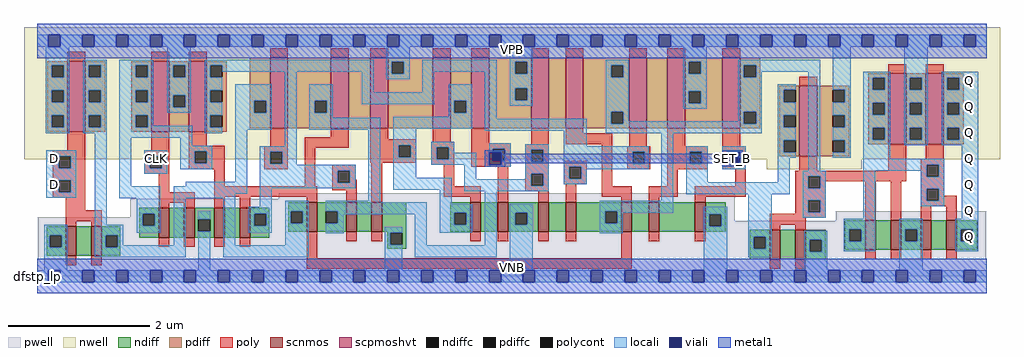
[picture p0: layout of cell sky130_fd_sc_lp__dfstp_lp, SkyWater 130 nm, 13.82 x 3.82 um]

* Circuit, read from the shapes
.subckt sky130_fd_sc_lp__dfstp_lp CLK D SET_B VGND VNB VPB VPWR Q
XM1 n1 D VGND VNB sky130_fd_pr__nfet_01v8 w=0.42 l=0.15
XM2 n2 D n1 VNB sky130_fd_pr__nfet_01v8 w=0.42 l=0.15
XM3 n3 CLK n4 VNB sky130_fd_pr__nfet_01v8 w=0.42 l=0.15
XM4 VGND CLK n3 VNB sky130_fd_pr__nfet_01v8 w=0.42 l=0.15
XM5 n5 n4 VGND VNB sky130_fd_pr__nfet_01v8 w=0.42 l=0.15
XM6 n6 n4 n5 VNB sky130_fd_pr__nfet_01v8 w=0.42 l=0.15
XM7 n7 n4 n2 VNB sky130_fd_pr__nfet_01v8 w=0.42 l=0.15
XM8 n8 n6 n7 VNB sky130_fd_pr__nfet_01v8 w=0.42 l=0.15
XM9 VGND n9 n8 VNB sky130_fd_pr__nfet_01v8 w=0.42 l=0.15
XM10 n10 n7 n9 VNB sky130_fd_pr__nfet_01v8 w=0.42 l=0.15
XM11 VGND SET_B n10 VNB sky130_fd_pr__nfet_01v8 w=0.42 l=0.15
XM12 n11 n7 VGND VNB sky130_fd_pr__nfet_01v8 w=0.42 l=0.15
XM13 n12 n6 n11 VNB sky130_fd_pr__nfet_01v8 w=0.42 l=0.15
XM14 n13 n4 n12 VNB sky130_fd_pr__nfet_01v8 w=0.42 l=0.15
XM15 n14 n15 n13 VNB sky130_fd_pr__nfet_01v8 w=0.42 l=0.15
XM16 VGND SET_B n14 VNB sky130_fd_pr__nfet_01v8 w=0.42 l=0.15
XM17 n16 n12 n15 VNB sky130_fd_pr__nfet_01v8 w=0.42 l=0.15
XM18 VGND n12 n16 VNB sky130_fd_pr__nfet_01v8 w=0.42 l=0.15
XM19 n17 n12 n18 VNB sky130_fd_pr__nfet_01v8 w=0.42 l=0.15
XM20 VGND n12 n17 VNB sky130_fd_pr__nfet_01v8 w=0.42 l=0.15
XM21 n19 n18 VGND VNB sky130_fd_pr__nfet_01v8 w=0.42 l=0.15
XM22 Q n18 n19 VNB sky130_fd_pr__nfet_01v8 w=0.42 l=0.15
XM23 n2 D VPWR VPB sky130_fd_pr__pfet_01v8_hvt w=1 l=0.25
XM24 VPWR CLK n4 VPB sky130_fd_pr__pfet_01v8_hvt w=1 l=0.25
XM25 n6 n4 VPWR VPB sky130_fd_pr__pfet_01v8_hvt w=1 l=0.25
XM26 n7 n6 n2 VPB sky130_fd_pr__pfet_01v8_hvt w=1 l=0.25
XM27 n20 n4 n7 VPB sky130_fd_pr__pfet_01v8_hvt w=1 l=0.25
XM28 VPWR n9 n20 VPB sky130_fd_pr__pfet_01v8_hvt w=1 l=0.25
XM29 n9 n7 VPWR VPB sky130_fd_pr__pfet_01v8_hvt w=1 l=0.25
XM30 VPWR SET_B n9 VPB sky130_fd_pr__pfet_01v8_hvt w=1 l=0.25
XM31 n21 n7 VPWR VPB sky130_fd_pr__pfet_01v8_hvt w=1 l=0.25
XM32 n12 n4 n21 VPB sky130_fd_pr__pfet_01v8_hvt w=1 l=0.25
XM33 n22 n6 n12 VPB sky130_fd_pr__pfet_01v8_hvt w=1 l=0.25
XM34 VPWR n15 n22 VPB sky130_fd_pr__pfet_01v8_hvt w=1 l=0.25
XM35 n12 SET_B VPWR VPB sky130_fd_pr__pfet_01v8_hvt w=1 l=0.25
XM36 VPWR n12 n15 VPB sky130_fd_pr__pfet_01v8_hvt w=1 l=0.25
XM37 VPWR n12 n18 VPB sky130_fd_pr__pfet_01v8_hvt w=1 l=0.25
XM38 Q n18 VPWR VPB sky130_fd_pr__pfet_01v8_hvt w=1 l=0.25
.ends

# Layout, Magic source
magic
tech sky130A
magscale 1 2
<< nwell >>
rect -38 331 2726 704
rect 2065 303 2335 331
<< pwell >>
rect 684 219 1975 235
rect 263 167 1975 219
rect 1 157 1975 167
rect 2261 157 2687 184
rect 1 49 2687 157
rect 0 0 2688 49
<< scnmos >>
rect 80 57 110 141
rect 152 57 182 141
rect 343 109 373 193
rect 415 109 445 193
rect 501 109 531 193
rect 573 109 603 193
rect 763 125 793 209
rect 874 125 904 209
rect 946 125 976 209
rect 1226 125 1256 209
rect 1304 125 1334 209
rect 1418 125 1448 209
rect 1496 125 1526 209
rect 1653 125 1683 209
rect 1731 125 1761 209
rect 1862 125 1892 209
rect 2074 47 2104 131
rect 2146 47 2176 131
rect 2344 74 2374 158
rect 2416 74 2446 158
rect 2502 74 2532 158
rect 2574 74 2604 158
<< scpmoshvt >>
rect 85 409 135 609
rect 323 409 373 609
rect 429 409 479 609
rect 659 419 709 619
rect 831 419 881 619
rect 943 419 993 619
rect 1120 419 1170 619
rect 1229 419 1279 619
rect 1398 419 1448 619
rect 1496 419 1546 619
rect 1676 419 1726 619
rect 1784 419 1834 619
rect 1940 419 1990 619
rect 2158 339 2208 539
rect 2410 374 2460 574
rect 2516 374 2566 574
<< ndiff >>
rect 289 177 343 193
rect 289 143 298 177
rect 332 143 343 177
rect 27 116 80 141
rect 27 82 35 116
rect 69 82 80 116
rect 27 57 80 82
rect 110 57 152 141
rect 182 116 235 141
rect 182 82 193 116
rect 227 82 235 116
rect 289 109 343 143
rect 373 109 415 193
rect 445 161 501 193
rect 445 127 456 161
rect 490 127 501 161
rect 445 109 501 127
rect 531 109 573 193
rect 603 177 656 193
rect 603 143 614 177
rect 648 143 656 177
rect 603 109 656 143
rect 710 184 763 209
rect 710 150 718 184
rect 752 150 763 184
rect 710 125 763 150
rect 793 184 874 209
rect 793 150 817 184
rect 851 150 874 184
rect 793 125 874 150
rect 904 125 946 209
rect 976 125 1045 209
rect 1169 180 1226 209
rect 1169 146 1181 180
rect 1215 146 1226 180
rect 1169 125 1226 146
rect 1256 125 1304 209
rect 1334 179 1418 209
rect 1334 145 1353 179
rect 1387 145 1418 179
rect 1334 125 1418 145
rect 1448 125 1496 209
rect 1526 184 1653 209
rect 1526 150 1608 184
rect 1642 150 1653 184
rect 1526 125 1653 150
rect 1683 125 1731 209
rect 1761 125 1862 209
rect 1892 175 1949 209
rect 1892 141 1903 175
rect 1937 141 1949 175
rect 1892 125 1949 141
rect 2287 133 2344 158
rect 182 57 235 82
rect 991 123 1045 125
rect 991 89 999 123
rect 1033 89 1045 123
rect 991 77 1045 89
rect 2017 111 2074 131
rect 2017 77 2029 111
rect 2063 77 2074 111
rect 2017 47 2074 77
rect 2104 47 2146 131
rect 2176 103 2233 131
rect 2176 69 2187 103
rect 2221 69 2233 103
rect 2287 99 2299 133
rect 2333 99 2344 133
rect 2287 74 2344 99
rect 2374 74 2416 158
rect 2446 133 2502 158
rect 2446 99 2457 133
rect 2491 99 2502 133
rect 2446 74 2502 99
rect 2532 74 2574 158
rect 2604 133 2661 158
rect 2604 99 2615 133
rect 2649 99 2661 133
rect 2604 74 2661 99
rect 2176 47 2233 69
<< pdiff >>
rect 28 597 85 609
rect 28 563 40 597
rect 74 563 85 597
rect 28 526 85 563
rect 28 492 40 526
rect 74 492 85 526
rect 28 455 85 492
rect 28 421 40 455
rect 74 421 85 455
rect 28 409 85 421
rect 135 597 192 609
rect 135 563 146 597
rect 180 563 192 597
rect 135 526 192 563
rect 135 492 146 526
rect 180 492 192 526
rect 135 455 192 492
rect 135 421 146 455
rect 180 421 192 455
rect 135 409 192 421
rect 266 597 323 609
rect 266 563 278 597
rect 312 563 323 597
rect 266 526 323 563
rect 266 492 278 526
rect 312 492 323 526
rect 266 455 323 492
rect 266 421 278 455
rect 312 421 323 455
rect 266 409 323 421
rect 373 597 429 609
rect 373 563 384 597
rect 418 563 429 597
rect 373 512 429 563
rect 373 478 384 512
rect 418 478 429 512
rect 373 409 429 478
rect 479 597 536 609
rect 479 563 490 597
rect 524 563 536 597
rect 479 526 536 563
rect 479 492 490 526
rect 524 492 536 526
rect 479 455 536 492
rect 479 421 490 455
rect 524 421 536 455
rect 479 409 536 421
rect 602 496 659 619
rect 602 462 614 496
rect 648 462 659 496
rect 602 419 659 462
rect 709 496 831 619
rect 709 462 786 496
rect 820 462 831 496
rect 709 419 831 462
rect 881 419 943 619
rect 993 607 1120 619
rect 993 573 1004 607
rect 1038 573 1120 607
rect 993 419 1120 573
rect 1170 497 1229 619
rect 1170 463 1181 497
rect 1215 463 1229 497
rect 1170 419 1229 463
rect 1279 607 1398 619
rect 1279 573 1353 607
rect 1387 573 1398 607
rect 1279 532 1398 573
rect 1279 498 1353 532
rect 1387 498 1398 532
rect 1279 419 1398 498
rect 1448 419 1496 619
rect 1546 597 1676 619
rect 1546 563 1625 597
rect 1659 563 1676 597
rect 1546 465 1676 563
rect 1546 431 1625 465
rect 1659 431 1676 465
rect 1546 419 1676 431
rect 1726 419 1784 619
rect 1834 607 1940 619
rect 1834 573 1845 607
rect 1879 573 1940 607
rect 1834 524 1940 573
rect 1834 490 1845 524
rect 1879 490 1940 524
rect 1834 419 1940 490
rect 1990 597 2047 619
rect 1990 563 2001 597
rect 2035 563 2047 597
rect 1990 465 2047 563
rect 2353 562 2410 574
rect 1990 431 2001 465
rect 2035 431 2047 465
rect 1990 419 2047 431
rect 2101 527 2158 539
rect 2101 493 2113 527
rect 2147 493 2158 527
rect 2101 456 2158 493
rect 2101 422 2113 456
rect 2147 422 2158 456
rect 2101 385 2158 422
rect 2101 351 2113 385
rect 2147 351 2158 385
rect 2101 339 2158 351
rect 2208 527 2299 539
rect 2208 493 2253 527
rect 2287 493 2299 527
rect 2208 456 2299 493
rect 2208 422 2253 456
rect 2287 422 2299 456
rect 2208 385 2299 422
rect 2208 351 2253 385
rect 2287 351 2299 385
rect 2353 528 2365 562
rect 2399 528 2410 562
rect 2353 491 2410 528
rect 2353 457 2365 491
rect 2399 457 2410 491
rect 2353 420 2410 457
rect 2353 386 2365 420
rect 2399 386 2410 420
rect 2353 374 2410 386
rect 2460 562 2516 574
rect 2460 528 2471 562
rect 2505 528 2516 562
rect 2460 491 2516 528
rect 2460 457 2471 491
rect 2505 457 2516 491
rect 2460 420 2516 457
rect 2460 386 2471 420
rect 2505 386 2516 420
rect 2460 374 2516 386
rect 2566 562 2623 574
rect 2566 528 2577 562
rect 2611 528 2623 562
rect 2566 491 2623 528
rect 2566 457 2577 491
rect 2611 457 2623 491
rect 2566 420 2623 457
rect 2566 386 2577 420
rect 2611 386 2623 420
rect 2566 374 2623 386
rect 2208 339 2299 351
<< ndiffc >>
rect 298 143 332 177
rect 35 82 69 116
rect 193 82 227 116
rect 456 127 490 161
rect 614 143 648 177
rect 718 150 752 184
rect 817 150 851 184
rect 1181 146 1215 180
rect 1353 145 1387 179
rect 1608 150 1642 184
rect 1903 141 1937 175
rect 999 89 1033 123
rect 2029 77 2063 111
rect 2187 69 2221 103
rect 2299 99 2333 133
rect 2457 99 2491 133
rect 2615 99 2649 133
<< pdiffc >>
rect 40 563 74 597
rect 40 492 74 526
rect 40 421 74 455
rect 146 563 180 597
rect 146 492 180 526
rect 146 421 180 455
rect 278 563 312 597
rect 278 492 312 526
rect 278 421 312 455
rect 384 563 418 597
rect 384 478 418 512
rect 490 563 524 597
rect 490 492 524 526
rect 490 421 524 455
rect 614 462 648 496
rect 786 462 820 496
rect 1004 573 1038 607
rect 1181 463 1215 497
rect 1353 573 1387 607
rect 1353 498 1387 532
rect 1625 563 1659 597
rect 1625 431 1659 465
rect 1845 573 1879 607
rect 1845 490 1879 524
rect 2001 563 2035 597
rect 2001 431 2035 465
rect 2113 493 2147 527
rect 2113 422 2147 456
rect 2113 351 2147 385
rect 2253 493 2287 527
rect 2253 422 2287 456
rect 2253 351 2287 385
rect 2365 528 2399 562
rect 2365 457 2399 491
rect 2365 386 2399 420
rect 2471 528 2505 562
rect 2471 457 2505 491
rect 2471 386 2505 420
rect 2577 528 2611 562
rect 2577 457 2611 491
rect 2577 386 2611 420
<< poly >>
rect 85 609 135 635
rect 323 609 373 635
rect 429 609 479 635
rect 659 619 709 645
rect 831 619 881 645
rect 943 619 993 645
rect 1120 619 1170 645
rect 1229 619 1279 645
rect 1398 619 1448 645
rect 1496 619 1546 645
rect 1676 619 1726 645
rect 1784 619 1834 645
rect 1940 619 1990 645
rect 2410 574 2460 600
rect 2516 574 2566 600
rect 2158 539 2208 565
rect 85 356 135 409
rect 323 356 373 409
rect 44 340 135 356
rect 44 306 60 340
rect 94 306 135 340
rect 44 272 135 306
rect 302 340 373 356
rect 302 306 318 340
rect 352 306 373 340
rect 302 290 373 306
rect 429 369 479 409
rect 429 353 531 369
rect 659 368 709 419
rect 831 393 881 419
rect 429 319 445 353
rect 479 319 531 353
rect 429 303 531 319
rect 44 238 60 272
rect 94 238 135 272
rect 44 222 135 238
rect 80 186 135 222
rect 343 238 373 290
rect 501 254 531 303
rect 643 352 709 368
rect 643 318 659 352
rect 693 318 709 352
rect 643 302 709 318
rect 757 363 881 393
rect 943 387 993 419
rect 943 371 1073 387
rect 1120 381 1170 419
rect 757 254 787 363
rect 943 337 1023 371
rect 1057 337 1073 371
rect 943 321 1073 337
rect 1115 365 1181 381
rect 1115 331 1131 365
rect 1165 331 1181 365
rect 835 299 901 315
rect 835 265 851 299
rect 885 273 901 299
rect 885 265 904 273
rect 343 208 445 238
rect 343 193 373 208
rect 415 193 445 208
rect 501 224 793 254
rect 835 243 904 265
rect 501 193 531 224
rect 573 193 603 224
rect 763 209 793 224
rect 874 209 904 243
rect 946 209 976 321
rect 1115 315 1181 331
rect 1151 254 1181 315
rect 1229 376 1279 419
rect 1229 360 1340 376
rect 1398 374 1448 419
rect 1496 404 1546 419
rect 1496 374 1628 404
rect 1229 326 1290 360
rect 1324 326 1340 360
rect 1229 310 1340 326
rect 1382 358 1448 374
rect 1382 324 1398 358
rect 1432 324 1448 358
rect 1151 224 1256 254
rect 1226 209 1256 224
rect 1304 209 1334 310
rect 1382 290 1448 324
rect 1382 256 1398 290
rect 1432 256 1448 290
rect 1490 310 1556 326
rect 1490 276 1506 310
rect 1540 276 1556 310
rect 1490 260 1556 276
rect 1382 240 1448 256
rect 1418 209 1448 240
rect 1496 209 1526 260
rect 1598 254 1628 374
rect 1676 368 1726 419
rect 1784 368 1834 419
rect 1940 368 1990 419
rect 1670 352 1736 368
rect 1670 318 1686 352
rect 1720 318 1736 352
rect 1670 302 1736 318
rect 1784 352 1898 368
rect 1784 318 1848 352
rect 1882 318 1898 352
rect 1784 302 1898 318
rect 1940 352 2006 368
rect 1940 318 1956 352
rect 1990 318 2006 352
rect 1940 302 2006 318
rect 1784 254 1814 302
rect 1976 254 2006 302
rect 2158 299 2208 339
rect 2410 299 2460 374
rect 2516 332 2566 374
rect 1598 224 1683 254
rect 1653 209 1683 224
rect 1731 224 1814 254
rect 1862 224 2006 254
rect 2146 283 2460 299
rect 2146 249 2183 283
rect 2217 269 2460 283
rect 2502 316 2568 332
rect 2502 282 2518 316
rect 2552 282 2568 316
rect 2217 249 2233 269
rect 1731 209 1761 224
rect 1862 209 1892 224
rect 2146 215 2233 249
rect 80 156 182 186
rect 80 141 110 156
rect 152 141 182 156
rect 2146 181 2183 215
rect 2217 181 2233 215
rect 2146 176 2233 181
rect 2074 165 2233 176
rect 2074 146 2176 165
rect 2344 158 2374 269
rect 2416 158 2446 269
rect 2502 248 2568 282
rect 2502 214 2518 248
rect 2552 228 2568 248
rect 2552 214 2604 228
rect 2502 198 2604 214
rect 2502 158 2532 198
rect 2574 158 2604 198
rect 2074 131 2104 146
rect 2146 131 2176 146
rect 343 83 373 109
rect 415 83 445 109
rect 501 83 531 109
rect 573 83 603 109
rect 80 31 110 57
rect 152 31 182 57
rect 763 51 793 125
rect 874 99 904 125
rect 946 99 976 125
rect 1226 99 1256 125
rect 1304 99 1334 125
rect 1418 99 1448 125
rect 1496 99 1526 125
rect 1653 51 1683 125
rect 1731 99 1761 125
rect 1862 99 1892 125
rect 763 21 1683 51
rect 2344 48 2374 74
rect 2416 48 2446 74
rect 2502 48 2532 74
rect 2574 48 2604 74
rect 2074 21 2104 47
rect 2146 21 2176 47
<< polycont >>
rect 60 306 94 340
rect 318 306 352 340
rect 445 319 479 353
rect 60 238 94 272
rect 659 318 693 352
rect 1023 337 1057 371
rect 1131 331 1165 365
rect 851 265 885 299
rect 1290 326 1324 360
rect 1398 324 1432 358
rect 1398 256 1432 290
rect 1506 276 1540 310
rect 1686 318 1720 352
rect 1848 318 1882 352
rect 1956 318 1990 352
rect 2183 249 2217 283
rect 2518 282 2552 316
rect 2183 181 2217 215
rect 2518 214 2552 248
<< locali >>
rect 0 649 31 683
rect 65 649 127 683
rect 161 649 223 683
rect 257 649 319 683
rect 353 649 415 683
rect 449 649 511 683
rect 545 649 607 683
rect 641 649 703 683
rect 737 649 799 683
rect 833 649 895 683
rect 929 649 991 683
rect 1025 649 1087 683
rect 1121 649 1183 683
rect 1217 649 1279 683
rect 1313 649 1375 683
rect 1409 649 1471 683
rect 1505 649 1567 683
rect 1601 649 1663 683
rect 1697 649 1759 683
rect 1793 649 1855 683
rect 1889 649 1951 683
rect 1985 649 2047 683
rect 2081 649 2143 683
rect 2177 649 2239 683
rect 2273 649 2335 683
rect 2369 649 2431 683
rect 2465 649 2527 683
rect 2561 649 2623 683
rect 2657 649 2688 683
rect 24 597 90 649
rect 24 563 40 597
rect 74 563 90 597
rect 24 526 90 563
rect 24 492 40 526
rect 74 492 90 526
rect 24 455 90 492
rect 24 421 40 455
rect 74 421 90 455
rect 24 405 90 421
rect 130 597 196 613
rect 130 563 146 597
rect 180 563 196 597
rect 130 526 196 563
rect 130 492 146 526
rect 180 492 196 526
rect 130 455 196 492
rect 130 421 146 455
rect 180 421 196 455
rect 130 405 196 421
rect 25 340 110 356
rect 25 306 60 340
rect 94 306 110 340
rect 25 272 110 306
rect 25 238 60 272
rect 94 238 110 272
rect 25 222 110 238
rect 162 145 196 405
rect 232 597 328 613
rect 232 563 278 597
rect 312 563 328 597
rect 232 526 328 563
rect 232 492 278 526
rect 312 492 328 526
rect 232 455 328 492
rect 368 597 434 649
rect 368 563 384 597
rect 418 563 434 597
rect 368 512 434 563
rect 368 478 384 512
rect 418 478 434 512
rect 368 462 434 478
rect 474 597 952 613
rect 474 563 490 597
rect 524 579 952 597
rect 474 526 524 563
rect 474 492 490 526
rect 232 421 278 455
rect 312 426 328 455
rect 474 455 524 492
rect 312 421 438 426
rect 232 392 438 421
rect 474 421 490 455
rect 474 405 524 421
rect 560 496 664 543
rect 560 462 614 496
rect 648 462 664 496
rect 560 415 664 462
rect 232 254 266 392
rect 404 369 438 392
rect 302 340 368 356
rect 302 306 318 340
rect 352 306 368 340
rect 302 290 368 306
rect 404 353 495 369
rect 404 319 445 353
rect 479 319 495 353
rect 404 303 495 319
rect 560 267 594 415
rect 700 368 734 579
rect 770 496 836 543
rect 770 462 786 496
rect 820 462 836 496
rect 918 521 952 579
rect 988 607 1054 649
rect 988 573 1004 607
rect 1038 573 1054 607
rect 988 557 1054 573
rect 1090 579 1301 613
rect 1090 521 1124 579
rect 918 487 1124 521
rect 1165 497 1231 543
rect 770 449 836 462
rect 1165 463 1181 497
rect 1215 463 1231 497
rect 1165 451 1231 463
rect 770 415 971 449
rect 420 254 594 267
rect 232 220 348 254
rect 282 177 348 220
rect 19 116 85 145
rect 19 82 35 116
rect 69 82 85 116
rect 19 17 85 82
rect 162 116 243 145
rect 282 143 298 177
rect 332 143 348 177
rect 282 123 348 143
rect 386 233 594 254
rect 630 352 734 368
rect 630 318 659 352
rect 693 318 734 352
rect 630 315 734 318
rect 630 299 901 315
rect 630 265 851 299
rect 885 265 901 299
rect 630 249 901 265
rect 386 220 560 233
rect 162 82 193 116
rect 227 87 243 116
rect 386 87 420 220
rect 227 82 420 87
rect 162 53 420 82
rect 456 161 490 184
rect 456 17 490 127
rect 526 87 560 220
rect 630 197 664 249
rect 937 213 971 415
rect 1007 417 1231 451
rect 1267 446 1301 579
rect 1337 607 1403 649
rect 1337 573 1353 607
rect 1387 573 1403 607
rect 1337 532 1403 573
rect 1337 498 1353 532
rect 1387 498 1403 532
rect 1337 482 1403 498
rect 1609 597 1675 613
rect 1609 563 1625 597
rect 1659 563 1675 597
rect 1609 465 1675 563
rect 1829 607 1895 649
rect 1829 573 1845 607
rect 1879 573 1895 607
rect 1829 524 1895 573
rect 1829 490 1845 524
rect 1879 490 1895 524
rect 1829 474 1895 490
rect 1985 597 2217 613
rect 1985 563 2001 597
rect 2035 579 2217 597
rect 2035 563 2051 579
rect 1007 371 1073 417
rect 1267 412 1556 446
rect 1007 337 1023 371
rect 1057 337 1073 371
rect 1007 279 1073 337
rect 1115 365 1181 381
rect 1115 331 1131 365
rect 1165 349 1181 365
rect 1279 360 1340 376
rect 1279 350 1290 360
rect 1165 331 1243 349
rect 1115 315 1243 331
rect 1007 245 1173 279
rect 598 177 664 197
rect 598 143 614 177
rect 648 143 664 177
rect 598 123 664 143
rect 702 184 768 213
rect 702 150 718 184
rect 752 150 768 184
rect 702 87 768 150
rect 817 209 971 213
rect 817 184 1103 209
rect 851 175 1103 184
rect 851 150 867 175
rect 817 121 867 150
rect 983 123 1033 139
rect 526 53 768 87
rect 983 89 999 123
rect 983 17 1033 89
rect 1069 87 1103 175
rect 1139 204 1173 245
rect 1209 274 1243 315
rect 1324 326 1340 360
rect 1313 316 1340 326
rect 1279 310 1340 316
rect 1382 358 1448 374
rect 1382 324 1398 358
rect 1432 324 1448 358
rect 1382 290 1448 324
rect 1382 274 1398 290
rect 1209 256 1398 274
rect 1432 256 1448 290
rect 1490 368 1556 412
rect 1609 431 1625 465
rect 1659 438 1675 465
rect 1985 465 2051 563
rect 1985 438 2001 465
rect 1659 431 2001 438
rect 2035 431 2051 465
rect 1609 404 2051 431
rect 2097 527 2147 543
rect 2097 493 2113 527
rect 2097 456 2147 493
rect 2097 422 2113 456
rect 1490 352 1731 368
rect 1490 318 1686 352
rect 1720 318 1731 352
rect 1490 310 1731 318
rect 1490 276 1506 310
rect 1540 302 1731 310
rect 1540 276 1556 302
rect 1490 260 1556 276
rect 1209 240 1448 256
rect 1139 180 1231 204
rect 1139 146 1181 180
rect 1215 146 1231 180
rect 1139 123 1231 146
rect 1267 87 1301 240
rect 1767 213 1801 404
rect 2097 385 2147 422
rect 1837 352 1898 368
rect 1837 318 1848 352
rect 1882 318 1898 352
rect 1837 266 1898 318
rect 1940 352 2006 368
rect 1940 350 1956 352
rect 1940 316 1951 350
rect 1990 318 2006 352
rect 1985 316 2006 318
rect 1940 302 2006 316
rect 2097 351 2113 385
rect 2097 335 2147 351
rect 2097 266 2131 335
rect 2183 299 2217 579
rect 2253 527 2303 649
rect 2287 493 2303 527
rect 2253 456 2303 493
rect 2287 422 2303 456
rect 2253 385 2303 422
rect 2287 351 2303 385
rect 2253 335 2303 351
rect 2339 562 2415 578
rect 2339 528 2365 562
rect 2399 528 2415 562
rect 2339 491 2415 528
rect 2339 457 2365 491
rect 2399 457 2415 491
rect 2339 420 2415 457
rect 2339 386 2365 420
rect 2399 386 2415 420
rect 2339 332 2415 386
rect 2455 562 2521 649
rect 2455 528 2471 562
rect 2505 528 2521 562
rect 2455 491 2521 528
rect 2455 457 2471 491
rect 2505 457 2521 491
rect 2455 420 2521 457
rect 2455 386 2471 420
rect 2505 386 2521 420
rect 2455 370 2521 386
rect 2561 562 2665 578
rect 2561 528 2577 562
rect 2611 528 2665 562
rect 2561 491 2665 528
rect 2561 457 2577 491
rect 2611 457 2665 491
rect 2561 420 2665 457
rect 2561 386 2577 420
rect 2611 386 2665 420
rect 2561 370 2665 386
rect 2339 316 2568 332
rect 1837 232 2131 266
rect 2167 283 2233 299
rect 2167 249 2183 283
rect 2217 249 2233 283
rect 1069 53 1301 87
rect 1337 179 1403 204
rect 1337 145 1353 179
rect 1387 145 1403 179
rect 1337 17 1403 145
rect 1592 184 1801 213
rect 1592 150 1608 184
rect 1642 179 1801 184
rect 1642 150 1658 179
rect 1592 121 1658 150
rect 1887 175 1953 196
rect 1887 141 1903 175
rect 1937 141 1953 175
rect 1887 17 1953 141
rect 2013 111 2079 232
rect 2167 215 2233 249
rect 2167 181 2183 215
rect 2217 181 2233 215
rect 2167 165 2233 181
rect 2339 298 2518 316
rect 2339 162 2373 298
rect 2502 282 2518 298
rect 2552 282 2568 316
rect 2502 248 2568 282
rect 2502 214 2518 248
rect 2552 214 2568 248
rect 2502 198 2568 214
rect 2617 162 2665 370
rect 2283 133 2373 162
rect 2013 77 2029 111
rect 2063 77 2079 111
rect 2013 53 2079 77
rect 2171 103 2237 129
rect 2171 69 2187 103
rect 2221 69 2237 103
rect 2283 99 2299 133
rect 2333 99 2373 133
rect 2283 70 2373 99
rect 2441 133 2507 162
rect 2441 99 2457 133
rect 2491 99 2507 133
rect 2171 17 2237 69
rect 2441 17 2507 99
rect 2599 133 2665 162
rect 2599 99 2615 133
rect 2649 99 2665 133
rect 2599 70 2665 99
rect 0 -17 31 17
rect 65 -17 127 17
rect 161 -17 223 17
rect 257 -17 319 17
rect 353 -17 415 17
rect 449 -17 511 17
rect 545 -17 607 17
rect 641 -17 703 17
rect 737 -17 799 17
rect 833 -17 895 17
rect 929 -17 991 17
rect 1025 -17 1087 17
rect 1121 -17 1183 17
rect 1217 -17 1279 17
rect 1313 -17 1375 17
rect 1409 -17 1471 17
rect 1505 -17 1567 17
rect 1601 -17 1663 17
rect 1697 -17 1759 17
rect 1793 -17 1855 17
rect 1889 -17 1951 17
rect 1985 -17 2047 17
rect 2081 -17 2143 17
rect 2177 -17 2239 17
rect 2273 -17 2335 17
rect 2369 -17 2431 17
rect 2465 -17 2527 17
rect 2561 -17 2623 17
rect 2657 -17 2688 17
<< viali >>
rect 31 649 65 683
rect 127 649 161 683
rect 223 649 257 683
rect 319 649 353 683
rect 415 649 449 683
rect 511 649 545 683
rect 607 649 641 683
rect 703 649 737 683
rect 799 649 833 683
rect 895 649 929 683
rect 991 649 1025 683
rect 1087 649 1121 683
rect 1183 649 1217 683
rect 1279 649 1313 683
rect 1375 649 1409 683
rect 1471 649 1505 683
rect 1567 649 1601 683
rect 1663 649 1697 683
rect 1759 649 1793 683
rect 1855 649 1889 683
rect 1951 649 1985 683
rect 2047 649 2081 683
rect 2143 649 2177 683
rect 2239 649 2273 683
rect 2335 649 2369 683
rect 2431 649 2465 683
rect 2527 649 2561 683
rect 2623 649 2657 683
rect 1279 326 1290 350
rect 1290 326 1313 350
rect 1279 316 1313 326
rect 1951 318 1956 350
rect 1956 318 1985 350
rect 1951 316 1985 318
rect 31 -17 65 17
rect 127 -17 161 17
rect 223 -17 257 17
rect 319 -17 353 17
rect 415 -17 449 17
rect 511 -17 545 17
rect 607 -17 641 17
rect 703 -17 737 17
rect 799 -17 833 17
rect 895 -17 929 17
rect 991 -17 1025 17
rect 1087 -17 1121 17
rect 1183 -17 1217 17
rect 1279 -17 1313 17
rect 1375 -17 1409 17
rect 1471 -17 1505 17
rect 1567 -17 1601 17
rect 1663 -17 1697 17
rect 1759 -17 1793 17
rect 1855 -17 1889 17
rect 1951 -17 1985 17
rect 2047 -17 2081 17
rect 2143 -17 2177 17
rect 2239 -17 2273 17
rect 2335 -17 2369 17
rect 2431 -17 2465 17
rect 2527 -17 2561 17
rect 2623 -17 2657 17
<< metal1 >>
rect 0 683 2688 715
rect 0 649 31 683
rect 65 649 127 683
rect 161 649 223 683
rect 257 649 319 683
rect 353 649 415 683
rect 449 649 511 683
rect 545 649 607 683
rect 641 649 703 683
rect 737 649 799 683
rect 833 649 895 683
rect 929 649 991 683
rect 1025 649 1087 683
rect 1121 649 1183 683
rect 1217 649 1279 683
rect 1313 649 1375 683
rect 1409 649 1471 683
rect 1505 649 1567 683
rect 1601 649 1663 683
rect 1697 649 1759 683
rect 1793 649 1855 683
rect 1889 649 1951 683
rect 1985 649 2047 683
rect 2081 649 2143 683
rect 2177 649 2239 683
rect 2273 649 2335 683
rect 2369 649 2431 683
rect 2465 649 2527 683
rect 2561 649 2623 683
rect 2657 649 2688 683
rect 0 617 2688 649
rect 1267 350 1325 356
rect 1267 316 1279 350
rect 1313 347 1325 350
rect 1939 350 1997 356
rect 1939 347 1951 350
rect 1313 319 1951 347
rect 1313 316 1325 319
rect 1267 310 1325 316
rect 1939 316 1951 319
rect 1985 316 1997 350
rect 1939 310 1997 316
rect 0 17 2688 49
rect 0 -17 31 17
rect 65 -17 127 17
rect 161 -17 223 17
rect 257 -17 319 17
rect 353 -17 415 17
rect 449 -17 511 17
rect 545 -17 607 17
rect 641 -17 703 17
rect 737 -17 799 17
rect 833 -17 895 17
rect 929 -17 991 17
rect 1025 -17 1087 17
rect 1121 -17 1183 17
rect 1217 -17 1279 17
rect 1313 -17 1375 17
rect 1409 -17 1471 17
rect 1505 -17 1567 17
rect 1601 -17 1663 17
rect 1697 -17 1759 17
rect 1793 -17 1855 17
rect 1889 -17 1951 17
rect 1985 -17 2047 17
rect 2081 -17 2143 17
rect 2177 -17 2239 17
rect 2273 -17 2335 17
rect 2369 -17 2431 17
rect 2465 -17 2527 17
rect 2561 -17 2623 17
rect 2657 -17 2688 17
rect 0 -49 2688 -17
<< labels >>
flabel pwell s 0 0 2688 49 0 FreeSans 200 0 0 0 VNB
port 5 nsew ground bidirectional
flabel nwell s 0 617 2688 666 0 FreeSans 200 0 0 0 VPB
port 6 nsew power bidirectional
rlabel comment s 0 0 0 0 4 dfstp_lp
flabel metal1 s 1951 316 1985 350 0 FreeSans 340 0 0 0 SET_B
port 3 nsew signal input
flabel metal1 s 0 617 2688 666 0 FreeSans 340 0 0 0 VPWR
port 7 nsew power bidirectional
flabel metal1 s 0 0 2688 49 0 FreeSans 340 0 0 0 VGND
port 4 nsew ground bidirectional
flabel locali s 31 242 65 276 0 FreeSans 340 0 0 0 D
port 2 nsew signal input
flabel locali s 31 316 65 350 0 FreeSans 340 0 0 0 D
port 2 nsew signal input
flabel locali s 319 316 353 350 0 FreeSans 340 0 0 0 CLK
port 1 nsew clock input
flabel locali s 2623 94 2657 128 0 FreeSans 340 0 0 0 Q
port 8 nsew signal output
flabel locali s 2623 168 2657 202 0 FreeSans 340 0 0 0 Q
port 8 nsew signal output
flabel locali s 2623 242 2657 276 0 FreeSans 340 0 0 0 Q
port 8 nsew signal output
flabel locali s 2623 316 2657 350 0 FreeSans 340 0 0 0 Q
port 8 nsew signal output
flabel locali s 2623 390 2657 424 0 FreeSans 340 0 0 0 Q
port 8 nsew signal output
flabel locali s 2623 464 2657 498 0 FreeSans 340 0 0 0 Q
port 8 nsew signal output
flabel locali s 2623 538 2657 572 0 FreeSans 340 0 0 0 Q
port 8 nsew signal output
<< properties >>
string LEFsite unit
string LEFclass CORE
string FIXED_BBOX 0 0 2688 666
string GDS_FILE $PDKPATH/libs.ref/sky130_fd_sc_lp/gds/sky130_fd_sc_lp.gds
string LEFsymmetry X Y R90
string GDS_END 73606
string GDS_START 55896
<< end >>
